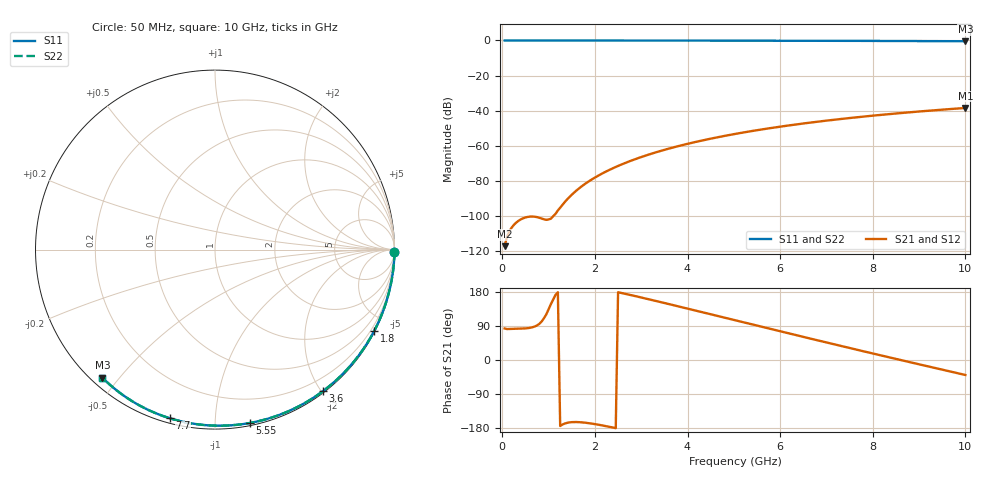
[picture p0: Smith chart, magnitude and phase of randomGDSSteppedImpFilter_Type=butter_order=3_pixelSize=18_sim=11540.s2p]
! freq	dB(S11)	phase(S11)	dB(S12)	phase(S12)
!  dB(S21)	phase(S21)	dB(S22)	phase(S22)
!S-par simulation data
#  GHz  S  DB  R 50
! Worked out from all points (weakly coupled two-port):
!   200 points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, 50 MHz to 10 GHz, reference 50 ohm
!   highest |S21| = -38.45 dB at 10 GHz (marker M1); lowest = -117.2 dB at 50 MHz (marker M2)
!   lowest |S11| = -0.4 dB at 10 GHz (marker M3), VSWR 39.22, Z = 1.54 - j22.6 ohm
!   |S11| at or under -10 dB: nowhere
!   |S22| runs from -0.4 to 0.0 dB; largest |S21 - S12| = 0
!   S11 on the Smith chart (normalised r, x): 50 MHz: open; 1.8 GHz: 0.04, -4.18; 3.6 GHz: 0.02, -2.02; 5.55 GHz: 0.02, -1.22; 7.7 GHz: 0.02, -0.77; 10 GHz: 0.03, -0.45
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0.05  -0.00 -0.8  -117.15 83.2  -117.15 83.2  -0.00 -0.8
0.9  -0.02 -13.6  -101.86 110.3  -101.86 110.3  -0.02 -13.6
1.75  -0.03 -26.2  -82.38 -164.9  -82.38 -164.9  -0.03 -26.2
1.8  -0.03 -26.9  -81.44 -165.6  -81.44 -165.6  -0.03 -26.9
1.85  -0.04 -27.6  -80.55 -166.4  -80.55 -166.4  -0.04 -27.6
1.9  -0.04 -28.4  -79.69 -167.2  -79.69 -167.2  -0.04 -28.4
2.05  -0.04 -30.6  -77.31 -170.2  -77.31 -170.2  -0.04 -30.6
2.25  -0.04 -33.5  -74.51 -174.8  -74.51 -174.8  -0.04 -33.5
2.45  -0.05 -36.4  -72.03 -179.9  -72.03 -179.9  -0.05 -36.4
2.65  -0.05 -39.2  -69.81 174.8  -69.81 174.8  -0.05 -39.2
3  -0.06 -44.2  -66.40 165.0  -66.40 165.0  -0.06 -44.2
3.4  -0.07 -49.8  -63.06 153.4  -63.06 153.4  -0.07 -49.8
3.6  -0.07 -52.6  -61.57 147.5  -61.57 147.5  -0.07 -52.6
4.3  -0.09 -62.2  -57.06 126.7  -57.06 126.7  -0.09 -62.2
5.05  -0.11 -72.1  -53.13 104.2  -53.13 104.2  -0.11 -72.1
5.55  -0.13 -78.6  -50.90 89.2  -50.90 89.2  -0.13 -78.6
6.1  -0.15 -85.5  -48.72 72.8  -48.72 72.8  -0.15 -85.5
6.7  -0.18 -93.0  -46.62 55.1  -46.62 55.1  -0.18 -93.0
7.7  -0.24 -104.9  -43.62 25.9  -43.62 25.9  -0.24 -104.9
8.35  -0.29 -112.5  -41.95 7.1  -41.95 7.1  -0.29 -112.5
9.15  -0.36 -121.7  -40.13 -15.6  -40.13 -15.6  -0.36 -121.7
10  -0.44 -131.3  -38.45 -39.5  -38.45 -39.5  -0.44 -131.3
